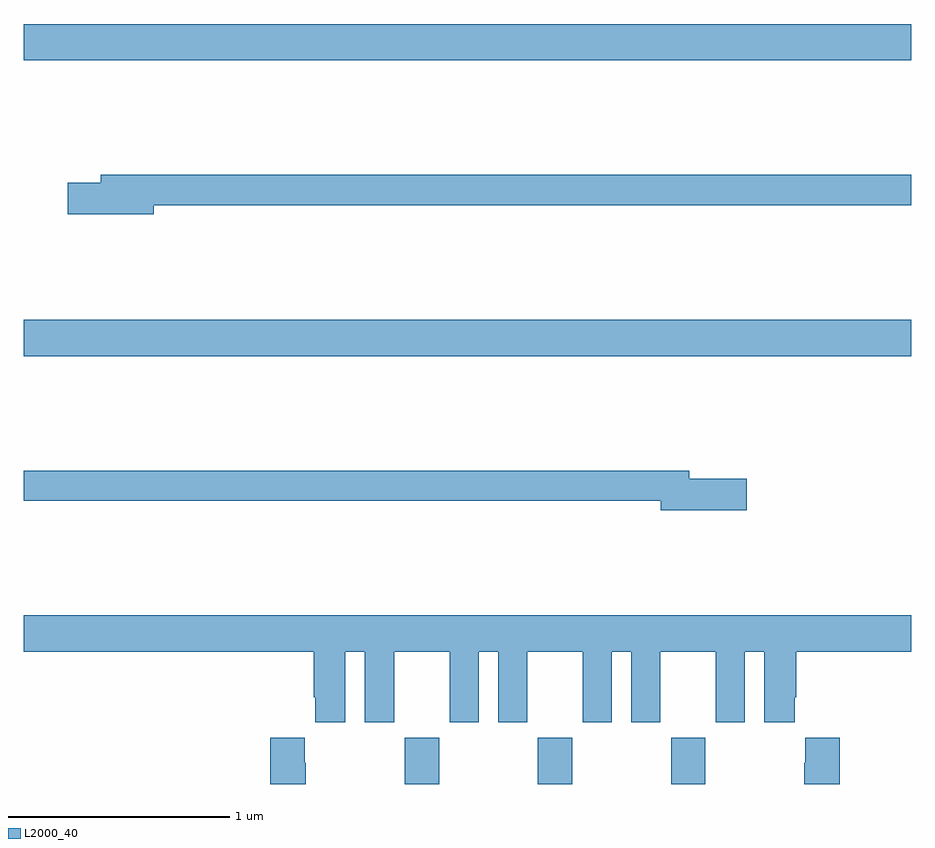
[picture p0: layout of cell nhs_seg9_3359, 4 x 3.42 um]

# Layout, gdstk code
import gdstk
lib = gdstk.Library(unit=1e-6, precision=1e-09)
def R(c, l, rs):  # rectangles x0, y0, x1, y1
    for r in rs: c.add(gdstk.rectangle(r[:2], r[2:], *l))
def A(c, l, x, y, w, h, nx, ny, dx, dy):  # array of equal rectangles
    R(c, l, [(x+i*dx, y+j*dy, x+i*dx+w, y+j*dy+h) for i in range(nx) for j in range(ny)])
def P(c, l, *ps):  # polygons
    for p in ps: c.add(gdstk.Polygon(p, *l))
L2000_40 = (2000, 40)

nhs_seg9_3359 = lib.new_cell('nhs_seg9_3359')
A(nhs_seg9_3359, L2000_40, 304.717, 1186.5, 0.155, 0.208, 3, 1, 0.6, 0)
R(nhs_seg9_3359, L2000_40, [(303,1188.428,307,1188.592), (303,1189.76,307,1189.924)])
P(nhs_seg9_3359, L2000_40, [(303.586,1189.108),(307,1189.108),(307,1189.244),(303.347,1189.244),(303.347,1189.208),(303.198,1189.208),(303.198,1189.066),(303.586,1189.066)],
  [(306.259,1187.876),(305.998,1187.876),(305.998,1187.912),(303,1187.912),(303,1187.776),(305.87,1187.776),(305.87,1187.734),(306.259,1187.734)],
  [(304.45,1187.096),(304.538,1187.096),(304.538,1186.779),(304.669,1186.779),(304.669,1187.096),(304.919,1187.096),(304.919,1186.779),(305.05,1186.779),(305.05,1187.096),(305.138,1187.096),(305.138,1186.779),(305.269,1186.779),(305.269,1187.096),(305.519,1187.096),(305.519,1186.779),(305.65,1186.779),(305.65,1187.096),(305.738,1187.096),(305.738,1186.779),(305.869,1186.779),(305.869,1187.096),(306.119,1187.096),(306.119,1186.779),(306.25,1186.779),(306.25,1187.096),(306.338,1187.096),(306.338,1186.779),(306.475,1186.779),(306.475,1186.891),(306.482,1186.891),(306.482,1187.096),(307,1187.096),(307,1187.26),(303,1187.26),(303,1187.096),(304.307,1187.096),(304.307,1186.891),(304.313,1186.891),(304.313,1186.779),(304.45,1186.779)],
  [(304.272,1186.595),(304.267,1186.595),(304.267,1186.708),(304.112,1186.708),(304.112,1186.5),(304.272,1186.5)],
  [(306.677,1186.708),(306.521,1186.708),(306.521,1186.595),(306.517,1186.595),(306.517,1186.5),(306.677,1186.5)])

lib.write_gds('nhs_seg9_3359.gds')
